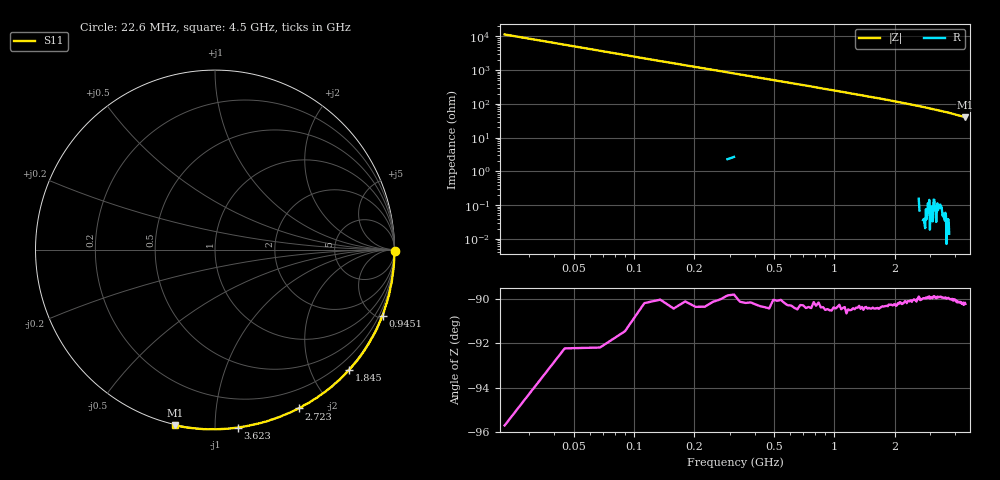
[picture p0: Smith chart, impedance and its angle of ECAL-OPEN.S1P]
!Agilent Technologies,E5071C,MY46101151,A.11.34
!Date: Mon Sep 17 22:35:31 2018
!Data & Calibration Information:
!Freq	S22:SOLT2(ON)
!PortZ  Port2:50+j0
!Above PortZ is port z conversion or system Z0 setting when saving the data.
!When reading, reference impedance value at option line is always used.
# Hz S dB R 50
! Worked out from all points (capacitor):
!   200 points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, 22.6 MHz to 4.5 GHz, reference 50 ohm
!   read as one part to ground: C = 628 fF near 45.1 MHz
!   lowest |Z| = 39.9 ohm at 4.5 GHz (marker M1)
!   S11 on the Smith chart (normalised r, x): 22.6 MHz: open; 945.1 MHz: -0.05, -5.26; 1.845 GHz: -0.02, -2.61; 2.723 GHz: -0.00, -1.66; 3.623 GHz: 0.00, -1.14; 4.5 GHz: -0.00, -0.80
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2.25995e7  0.01 -0.5
2.025955e8  0.00 -4.6
3.60092e8  0.00 -8.2
5.85087e8  0.01 -13.3
7.20084e8  0.02 -16.3
9.45079e8  0.03 -21.5
1.147574e9  0.04 -26.1
1.260072e9  0.03 -28.7
1.485067e9  0.03 -33.7
1.597564e9  0.04 -36.3
1.710062e9  0.03 -38.8
1.845059e9  0.03 -41.9
2.047554e9  0.03 -46.6
2.27255e9  0.02 -51.7
2.475045e9  0.01 -56.3
2.565043e9  0.02 -58.5
2.72254e9  0.00 -62.2
2.835037e9  -0.00 -64.7
3.082532e9  -0.00 -70.4
3.217528e9  -0.00 -73.4
3.397524e9  -0.01 -77.6
3.62252e9  -0.00 -82.7
3.780016e9  0.00 -86.4
3.960012e9  0.00 -90.4
4.117508e9  0.02 -94.1
4.185007e9  0.02 -95.5
4.410002e9  0.04 -100.6
4.5e9  0.03 -102.8
